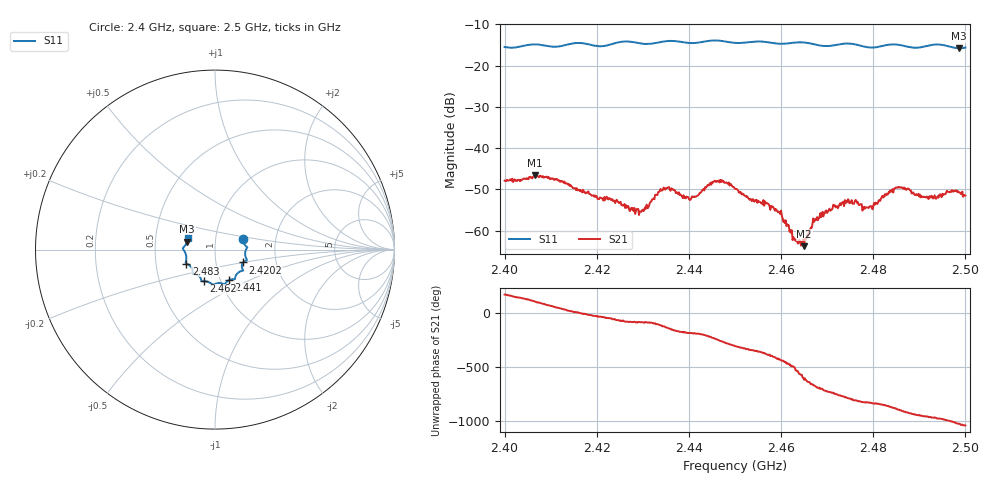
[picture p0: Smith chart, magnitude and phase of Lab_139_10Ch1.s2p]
# Hz S RI R 50
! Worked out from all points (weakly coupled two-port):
!   601 points, 2.4 GHz to 2.5 GHz, reference 50 ohm
!   highest |S21| = -46.61 dB at 2.4065 GHz (marker M1); lowest = -63.8 dB at 2.465 GHz (marker M2)
!   lowest |S11| = -15.8 dB at 2.4987 GHz (marker M3), VSWR 1.39, Z = 36.4 + j3.28 ohm
!   |S11| at or under -10 dB: start of sweep to end of sweep
!   S12 and S22 are empty: the file has one direction only
!   S11 on the Smith chart (normalised r, x): 2.4 GHz: 1.36, +0.17; 2.4202 GHz: 1.35, -0.20; 2.441 GHz: 1.10, -0.39; 2.462 GHz: 0.83, -0.30; 2.483 GHz: 0.72, -0.12; 2.5 GHz: 0.73, +0.09
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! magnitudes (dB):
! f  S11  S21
! 2.4 GHz  -15.5  -47.9
! 2.4065 GHz  -14.9  -46.6
! 2.4167 GHz  -14.6  -50.5
! 2.4202 GHz  -15.3  -52.3
! 2.4297 GHz  -14.7  -55.4
! 2.4333 GHz  -14.4  -50.6
! 2.4352 GHz  -14.1  -49.8
! 2.441 GHz  -14.6  -51.8
! 2.4455 GHz  -13.9  -48.0
! 2.45 GHz  -14.5  -49.9
! 2.4595 GHz  -14.7  -55.4
! 2.462 GHz  -14.6  -59.9
! 2.4633 GHz  -14.4  -62.2
! 2.465 GHz  -14.4  -63.8
! 2.4667 GHz  -14.7  -59.3
! 2.4717 GHz  -15.1  -53.9
! 2.4793 GHz  -15.6  -54.0
! 2.483 GHz  -15.0  -51.3
! 2.4833 GHz  -15.0  -50.7
! 2.4857 GHz  -15.0  -49.5
! 2.4987 GHz  -15.8  -50.7
! 2.5 GHz  -15.6  -51.5
